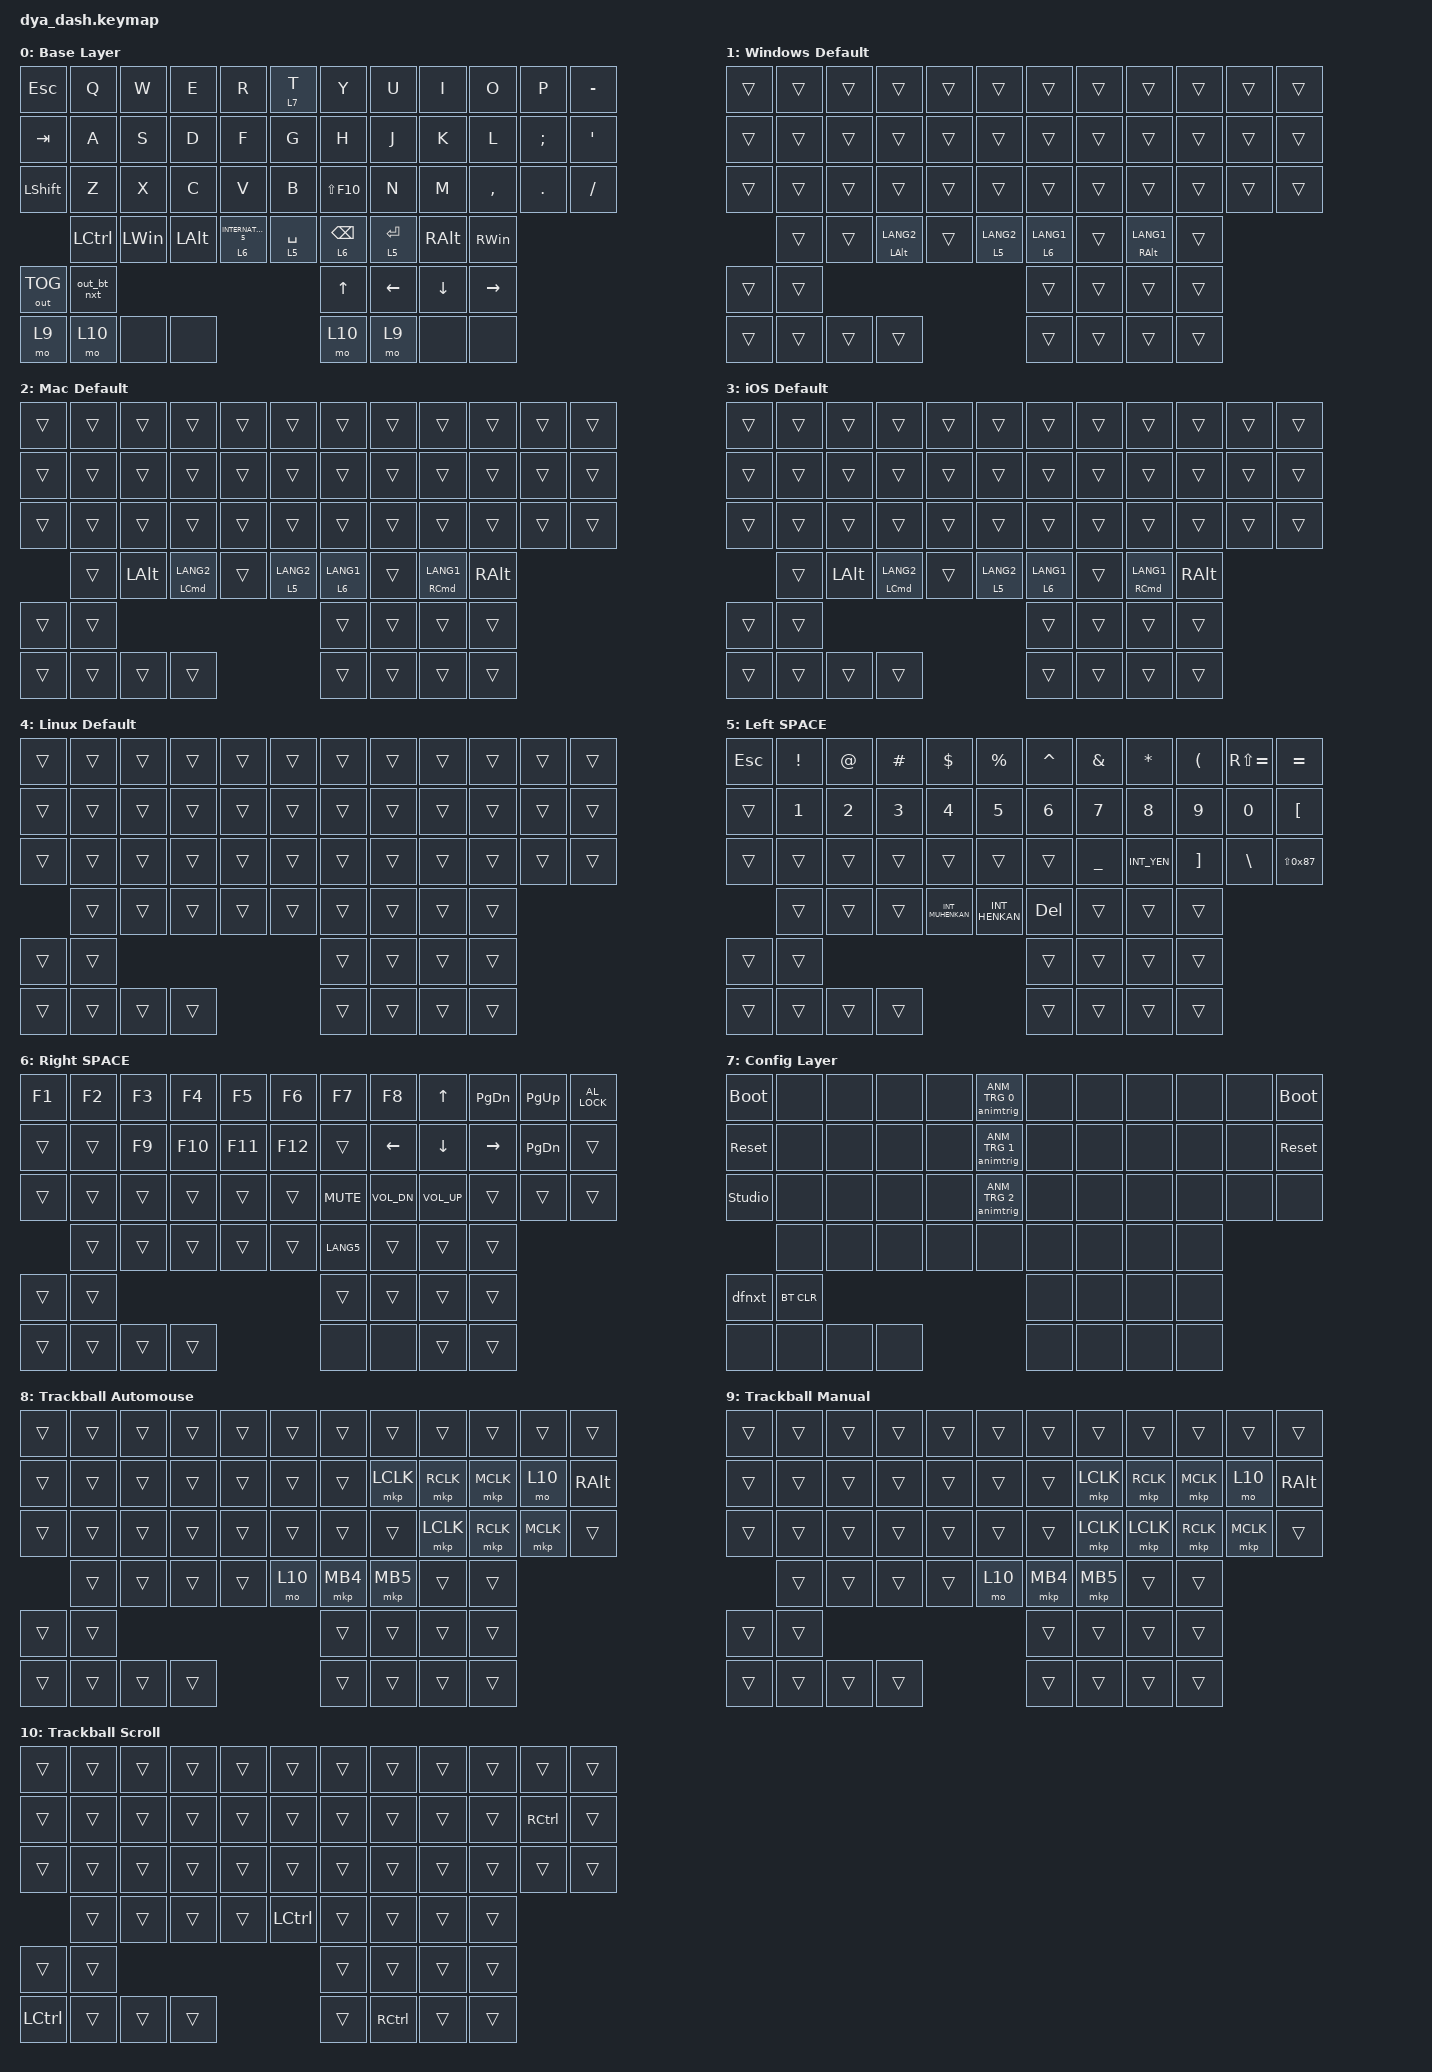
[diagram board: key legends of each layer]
#include <behaviors/mouse_move.dtsi>
#include <behaviors/animation_control.dtsi>
#include <behaviors/animation_trigger.dtsi>
#include <dt-bindings/zmk/mouse.h>
#include <dt-bindings/zmk_driver_animation/animation_control.h>
#include <dt-bindings/zmk_driver_animation/animation_trigger.h>
#include <dt-bindings/zmk_behavior_default_layer/default_layer.h>
#include <behaviors.dtsi>
#include <dt-bindings/zmk/bt.h>
#include <dt-bindings/zmk/keys.h>
#include <dt-bindings/zmk/outputs.h>
#include <dt-bindings/zmk/pointing.h>

// Layer definitions

#define DEFAULT_L 0
#define WINDOWS_L 1
#define MAC_L 2
#define IOS_L 3
#define LINUX_L 4
#define LEFT_L 5
#define RIGHT_L 6
#define CONFIG_L 7
#define TRACKBALL_L 8
#define TRACKBALL_L2 9
#define SCROLL_L 10
#define EXT1_L 11
#define EXT2_L 12
#define EXT3_L 13
#define JP_UNDERSCORE   LS(0x87)          // _

&trackball_listener {
    input-processors = <
    // TRACKBALL_L layer is activated when trackball is used.
    // After 500ms of trackball inactivity, the layer is deactivated.
    &zip_temp_layer TRACKBALL_L 500
    // Example: Adjust sensitivity of trackball multiply by 1 and divide by 60.
    &zip_xy_scaler 1 1
    >;
};

&trackball_scroller {
    layers = <SCROLL_L>;

    // Example: adjust sensitivity of scroll multiply by 1 and divide by 60.

    input-processors = <&zip_xy_scaler (-1) 30 &zip_xy_to_scroll_mapper>;
};

&trackball_listener_l { input-processors = <&zip_temp_layer TRACKBALL_L 500>; };

&trackball_scroller_l { layers = <SCROLL_L>; };

&zip_temp_layer { excluded-positions = <19 20 21 22 32 33 41 52 53 54 55 56 57 58 59>; };

&trackball_r { cpi = <600>; };

&trackball_l { cpi = <600>; };

/ {
    behaviors {
        // ctrl+h as backspace
        // ctrl+j as enter
    };

    macros {
        // Disconnect from all once for reliable connection to selected profile.
        // ZMK automatically reconnects to current profile right after disconnection.

        out_bt_nxt: out_bt_nxt {
            compatible = "zmk,behavior-macro";
            #binding-cells = <0>;
            wait-ms = <50>;
            bindings = <&out OUT_BLE &bt BT_NXT &bt BT_DISC 0 &bt BT_DISC 1 &bt BT_DISC 2 &bt BT_DISC 3 &bt BT_DISC 4>;
        };

        // Change default layer for current profile to next layer

        dfnxt: dfnxt {
            compatible = "zmk,behavior-macro";
            #binding-cells = <0>;
            bindings = <&df DF_INC &animtrig ANM_TRG 2>;
        };
    };

    combos {
        compatible = "zmk,combos";

        // Right side's setting button shares input pin with arrow keys.
        // It works as a combo of two arrow keys.

        setting_r1 {
            timeout-ms = <10>;
            key-positions = <47 50>;
            bindings = <&kp C_VOL_DN>;
        };

        setting_r2 {
            timeout-ms = <10>;
            key-positions = <47 49>;
            bindings = <&kp C_VOL_UP>;
        };
    };

    keymap {
        compatible = "zmk,keymap";

        // template {
        //     bindings = <
        //         &trans      &trans      &trans      &trans      &trans      &trans      /**/ &trans      &trans      &trans      &trans      &trans      &trans
        //         &trans      &trans      &trans      &trans      &trans      &trans      /**/ &trans      &trans      &trans      &trans      &trans      &trans
        //         &trans      &trans      &trans      &trans      &trans      &trans      /**/ &trans      &trans      &trans      &trans      &trans      &trans
        //                     &trans      &trans      &trans      &trans      &trans      /**/ &trans      &trans      &trans      &trans
        //
        //         &trans      &trans                                                      /**/ &trans      &trans      &trans      &trans
        //         &trans      &trans      &trans      &trans                              /**/ &trans      &trans      &trans      &trans
        //     >;
        // };

        default_layer {
            display-name = "Base Layer";

            // --------------------------------------------------------------------------------------------------------------------------------------------------
            // |   TAB   |    Q    |    W    |    E    |    R    |    T       |            |    Y        |    U    |    I     |    O    |    P    |    [    |
            // |   CTRL  |    A    |    S    |    D    |    F    |    G       |            |    H        |    J    |    K     |    L    |    ;    |    '    |
            // |  SHIFT  |    Z    |    X    |    C    |    V    |    B       |            |    B        |    N    |    M     |    ,    |    .    |    /    |
            //           |  CONFIG |   WIN   |   ALT   |  SPACE  | LEFT_LAYER |            | RIGHT_LAYER |  SPACE  |   ALT    |   WIN   |
            // --------------------------------------------------------------------------------------------------------------------------------------------------
            // | BLE     |  USB    |                                                       |  left   | up      | down    | right   |
            // | touch1  | touch2  | touch3  | touch 4 |                                   | touch1  | touch2  | touch3  | touch 4 |

            bindings = <
&kp ESCAPE    &kp Q        &kp W     &kp E     &kp R                  &lt 7 T      &kp Y            &kp U        &kp I     &kp O      &kp P          &kp MINUS
&kp TAB       &kp A        &kp S     &kp D     &kp F                  &kp G        &kp H            &kp J        &kp K     &kp L      &kp SEMICOLON  &kp SINGLE_QUOTE
&kp LSHIFT    &kp Z        &kp X     &kp C     &kp V                  &kp B        &kp LS(F10)      &kp N        &kp M     &kp COMMA  &kp DOT        &kp SLASH
              &kp LCTRL    &kp LWIN  &kp LALT  &lt 6 INTERNATIONAL_5  &lt 5 SPACE  &lt 6 BACKSPACE  &lt 5 ENTER  &kp RALT  &kp RWIN
&out OUT_TOG  &out_bt_nxt                                                          &kp UP           &kp LEFT     &kp DOWN  &kp RIGHT
&mo 9         &mo 10       &none     &none                                         &mo 10           &mo 9        &none     &none
            >;
        };

        windows_default_layer {
            display-name = "Windows Default";
            bindings = <
&trans  &trans  &trans  &trans          &trans  &trans       &trans       &trans  &trans          &trans  &trans  &trans
&trans  &trans  &trans  &trans          &trans  &trans       &trans       &trans  &trans          &trans  &trans  &trans
&trans  &trans  &trans  &trans          &trans  &trans       &trans       &trans  &trans          &trans  &trans  &trans
        &trans  &trans  &mt LALT LANG2  &trans  &lt 5 LANG2  &lt 6 LANG1  &trans  &mt RALT LANG1  &trans
&trans  &trans                                               &trans       &trans  &trans          &trans
&trans  &trans  &trans  &trans                               &trans       &trans  &trans          &trans
            >;
        };

        mac_default_layer {
            display-name = "Mac Default";
            bindings = <
&trans  &trans  &trans    &trans          &trans  &trans       &trans       &trans  &trans          &trans    &trans  &trans
&trans  &trans  &trans    &trans          &trans  &trans       &trans       &trans  &trans          &trans    &trans  &trans
&trans  &trans  &trans    &trans          &trans  &trans       &trans       &trans  &trans          &trans    &trans  &trans
        &trans  &kp LALT  &mt LCMD LANG2  &trans  &lt 5 LANG2  &lt 6 LANG1  &trans  &mt RCMD LANG1  &kp RALT
&trans  &trans                                                 &trans       &trans  &trans          &trans
&trans  &trans  &trans    &trans                               &trans       &trans  &trans          &trans
            >;
        };

        ios_default_layer {
            display-name = "iOS Default";
            bindings = <
&trans  &trans  &trans    &trans          &trans  &trans       &trans       &trans  &trans          &trans    &trans  &trans
&trans  &trans  &trans    &trans          &trans  &trans       &trans       &trans  &trans          &trans    &trans  &trans
&trans  &trans  &trans    &trans          &trans  &trans       &trans       &trans  &trans          &trans    &trans  &trans
        &trans  &kp LALT  &mt LCMD LANG2  &trans  &lt 5 LANG2  &lt 6 LANG1  &trans  &mt RCMD LANG1  &kp RALT
&trans  &trans                                                 &trans       &trans  &trans          &trans
&trans  &trans  &trans    &trans                               &trans       &trans  &trans          &trans
            >;
        };

        linux_default_layer {
            display-name = "Linux Default";
            bindings = <
&trans  &trans  &trans  &trans  &trans  &trans  &trans  &trans  &trans  &trans  &trans  &trans
&trans  &trans  &trans  &trans  &trans  &trans  &trans  &trans  &trans  &trans  &trans  &trans
&trans  &trans  &trans  &trans  &trans  &trans  &trans  &trans  &trans  &trans  &trans  &trans
        &trans  &trans  &trans  &trans  &trans  &trans  &trans  &trans  &trans
&trans  &trans                                  &trans  &trans  &trans  &trans
&trans  &trans  &trans  &trans                  &trans  &trans  &trans  &trans
            >;
        };

        left_layer {
            display-name = "Left SPACE";

            // --------------------------------------------------------------------------------------------------------------------------------------------------------------------
            // |  ESC    |  !  |  @  |  #       |  $  |  %       |                           |  ^  |  &      |  *      |  (  |  )  |  ]  |
            // |         |  1  |  2  |  3       |  4  |  5       |                           |  6  |  7      |  8      |  9  |  0  |  \  |
            // |         |     |     |          |     |          |                           |  `  |  -      |  =      |  [  |  ]  |SHIFT|
            //           |     |     |          |     |          |                           |     |         |         |     |

            bindings = <
&kp ESC  &kp EXCL  &kp AT  &kp HASH  &kp DLLR          &kp PRCNT       &kp CARET   &kp AMPS        &kp ASTRK    &kp LPAR           &kp RS(EQUAL)  &kp EQUAL
&trans   &kp N1    &kp N2  &kp N3    &kp N4            &kp N5          &kp N6      &kp N7          &kp N8       &kp N9             &kp N0         &kp LEFT_BRACKET
&trans   &trans    &trans  &trans    &trans            &trans          &trans      &kp UNDERSCORE  &kp INT_YEN  &kp RIGHT_BRACKET  &kp BACKSLASH  &kp JP_UNDERSCORE
         &trans    &trans  &trans    &kp INT_MUHENKAN  &kp INT_HENKAN  &kp DELETE  &trans          &trans       &trans
&trans   &trans                                                        &trans      &trans          &trans       &trans
&trans   &trans    &trans  &trans                                      &trans      &trans          &trans       &trans
            >;
        };

        right_layer {
            display-name = "Right SPACE";
            bindings = <
&kp F1  &kp F2  &kp F3  &kp F4   &kp F5   &kp F6   &kp F7      &kp F8        &kp UP        &kp PG_DN  &kp PAGE_UP    &kp C_AL_LOCK
&trans  &trans  &kp F9  &kp F10  &kp F11  &kp F12  &trans      &kp LEFT      &kp DOWN      &kp RIGHT  &kp PAGE_DOWN  &trans
&trans  &trans  &trans  &trans   &trans   &trans   &kp C_MUTE  &kp C_VOL_DN  &kp C_VOL_UP  &trans     &trans         &trans
        &trans  &trans  &trans   &trans   &trans   &kp LANG5   &trans        &trans        &trans
&trans  &trans                                     &trans      &trans        &trans        &trans
&trans  &trans  &trans  &trans                     &none       &none         &trans        &trans
            >;
        };

        config_layer {
            display-name = "Config Layer";
            bindings = <
&bootloader     &none       &none  &none  &none  &animtrig ANM_TRG 0  &none  &none  &none  &none  &none  &bootloader
&sys_reset      &none       &none  &none  &none  &animtrig ANM_TRG 1  &none  &none  &none  &none  &none  &sys_reset
&studio_unlock  &none       &none  &none  &none  &animtrig ANM_TRG 2  &none  &none  &none  &none  &none  &none
                &none       &none  &none  &none  &none                &none  &none  &none  &none
&dfnxt          &bt BT_CLR                                            &none  &none  &none  &none
&none           &none       &none  &none                              &none  &none  &none  &none
            >;
        };

        trackball_layer {
            display-name = "Trackball Automouse";
            bindings = <
&trans  &trans  &trans  &trans  &trans  &trans  &trans    &trans     &trans     &trans     &trans     &trans
&trans  &trans  &trans  &trans  &trans  &trans  &trans    &mkp LCLK  &mkp RCLK  &mkp MCLK  &mo 10     &kp RALT
&trans  &trans  &trans  &trans  &trans  &trans  &trans    &trans     &mkp LCLK  &mkp RCLK  &mkp MCLK  &trans
        &trans  &trans  &trans  &trans  &mo 10  &mkp MB4  &mkp MB5   &trans     &trans
&trans  &trans                                  &trans    &trans     &trans     &trans
&trans  &trans  &trans  &trans                  &trans    &trans     &trans     &trans
            >;
        };

        trackball_layer2 {
            display-name = "Trackball Manual";
            bindings = <
&trans  &trans  &trans  &trans  &trans  &trans  &trans    &trans     &trans     &trans     &trans     &trans
&trans  &trans  &trans  &trans  &trans  &trans  &trans    &mkp LCLK  &mkp RCLK  &mkp MCLK  &mo 10     &kp RALT
&trans  &trans  &trans  &trans  &trans  &trans  &trans    &mkp LCLK  &mkp LCLK  &mkp RCLK  &mkp MCLK  &trans
        &trans  &trans  &trans  &trans  &mo 10  &mkp MB4  &mkp MB5   &trans     &trans
&trans  &trans                                  &trans    &trans     &trans     &trans
&trans  &trans  &trans  &trans                  &trans    &trans     &trans     &trans
            >;
        };

        scroll_layer {
            display-name = "Trackball Scroll";
            bindings = <
&trans     &trans  &trans  &trans  &trans  &trans     &trans  &trans     &trans  &trans  &trans     &trans
&trans     &trans  &trans  &trans  &trans  &trans     &trans  &trans     &trans  &trans  &kp RCTRL  &trans
&trans     &trans  &trans  &trans  &trans  &trans     &trans  &trans     &trans  &trans  &trans     &trans
           &trans  &trans  &trans  &trans  &kp LCTRL  &trans  &trans     &trans  &trans
&trans     &trans                                     &trans  &trans     &trans  &trans
&kp LCTRL  &trans  &trans  &trans                     &trans  &kp RCTRL  &trans  &trans
            >;
        };

        extra1 { status = "reserved"; };

        extra2 { status = "reserved"; };

        extra3 { status = "reserved"; };
    };
};
